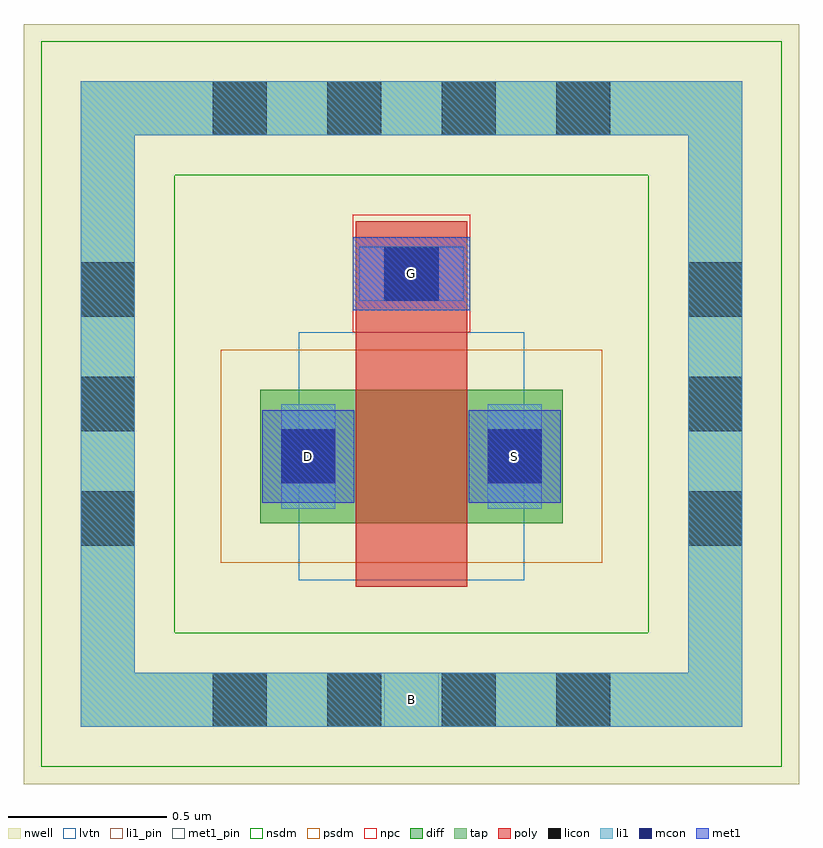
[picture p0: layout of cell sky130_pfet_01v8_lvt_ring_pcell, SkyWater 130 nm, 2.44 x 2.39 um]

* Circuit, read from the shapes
.subckt sky130_pfet_01v8_lvt_ring_pcell B D G S
XM1 S G D B sky130_fd_pr__pfet_01v8_lvt w=0.42 l=0.35
.ends

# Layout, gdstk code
import gdstk
lib = gdstk.Library(unit=1e-6, precision=1e-09)
def R(c, l, rs):  # rectangles x0, y0, x1, y1
    for r in rs: c.add(gdstk.rectangle(r[:2], r[2:], *l))
def A(c, l, x, y, w, h, nx, ny, dx, dy):  # array of equal rectangles
    R(c, l, [(x+i*dx, y+j*dy, x+i*dx+w, y+j*dy+h) for i in range(nx) for j in range(ny)])
def P(c, l, *ps):  # polygons
    for p in ps: c.add(gdstk.Polygon(p, *l))
nwell = (64, 20)
diff = (65, 20)
tap = (65, 44)
poly = (66, 20)
licon = (66, 44)
li1_pin = (67, 16)
li1 = (67, 20)
mcon = (67, 44)
met1_pin = (68, 16)
met1 = (68, 20)
nsdm = (93, 44)
psdm = (94, 20)
npc = (95, 20)
lvtn = (125, 44)

pfet = lib.new_cell('pfet')
R(pfet, nwell, [(-0.305,-0.38,1.255,1.14)])
R(pfet, diff, [(0,0,0.95,0.42)])
R(pfet, poly, [(0.3,-0.2,0.65,0.62), (0.3,0.62,0.65,0.95)])
R(pfet, licon, [(0.065,0.125,0.235,0.295), (0.715,0.125,0.885,0.295), (0.39,0.7,0.56,0.87)])
R(pfet, li1, [(0.065,0.045,0.235,0.375), (0.715,0.045,0.885,0.375), (0.31,0.7,0.64,0.87)])
R(pfet, mcon, [(0.065,0.125,0.235,0.295), (0.715,0.125,0.885,0.295), (0.39,0.7,0.56,0.87)])
R(pfet, met1, [(0.005,0.065,0.295,0.355), (0.655,0.065,0.945,0.355), (0.29,0.67,0.66,0.9)])
R(pfet, psdm, [(-0.125,-0.125,1.075,0.545)])
R(pfet, npc, [(0.29,0.61,0.66,0.96)])
R(pfet, lvtn, [(0.12,-0.18,0.83,0.6)])

guard_ring_gen = lib.new_cell('guard_ring_gen')
P(guard_ring_gen, tap, [(-0.17,-0.17),(-0.17,1.69),(0,1.69),(0,0),(1.74,0),(1.74,1.69),(-0.17,1.69),(-0.17,1.86),(1.91,1.86),(1.91,-0.17)])
A(guard_ring_gen, licon, 0.245, -0.17, 0.17, 0.17, 4, 2, 0.36, 1.86)
A(guard_ring_gen, licon, -0.17, 0.4, 0.17, 0.17, 1, 3, 0, 0.36)
A(guard_ring_gen, licon, 1.74, 0.4, 0.17, 0.17, 1, 3, 0, 0.36)
P(guard_ring_gen, li1, [(-0.17,-0.17),(-0.17,1.69),(0,1.69),(0,0),(1.74,0),(1.74,1.69),(-0.17,1.69),(-0.17,1.86),(1.91,1.86),(1.91,-0.17)])
P(guard_ring_gen, nsdm, [(-0.295,-0.295),(-0.295,1.565),(0.125,1.565),(0.125,0.125),(1.615,0.125),(1.615,1.565),(-0.295,1.565),(-0.295,1.985),(2.035,1.985),(2.035,-0.295)])

sky130_pfet_01v8_lvt_rin = lib.new_cell('sky130_pfet_01v8_lvt_ring_pcell')
R(sky130_pfet_01v8_lvt_rin, nwell, [(-0.745,-0.82,1.695,1.57)])
R(sky130_pfet_01v8_lvt_rin, li1_pin, [(0.39,-0.64,0.56,-0.47)])
R(sky130_pfet_01v8_lvt_rin, met1_pin, [(0.065,0.125,0.235,0.295), (0.715,0.125,0.885,0.295), (0.39,0.7,0.56,0.87)])
R(sky130_pfet_01v8_lvt_rin, npc, [(0.29,0.6,0.66,0.97)])
sky130_pfet_01v8_lvt_rin.add(gdstk.Reference(pfet, (0,0)))
sky130_pfet_01v8_lvt_rin.add(gdstk.Reference(guard_ring_gen, (-0.395,-0.47)))
sky130_pfet_01v8_lvt_rin.add(gdstk.Label('D', (0.15,0.21), layer=68, texttype=5))
sky130_pfet_01v8_lvt_rin.add(gdstk.Label('S', (0.8,0.21), layer=68, texttype=5))
sky130_pfet_01v8_lvt_rin.add(gdstk.Label('G', (0.475,0.785), layer=68, texttype=5))
sky130_pfet_01v8_lvt_rin.add(gdstk.Label('B', (0.475,-0.555), layer=67, texttype=5))

lib.write_gds('sky130_pfet_01v8_lvt_ring_pcell.gds')
